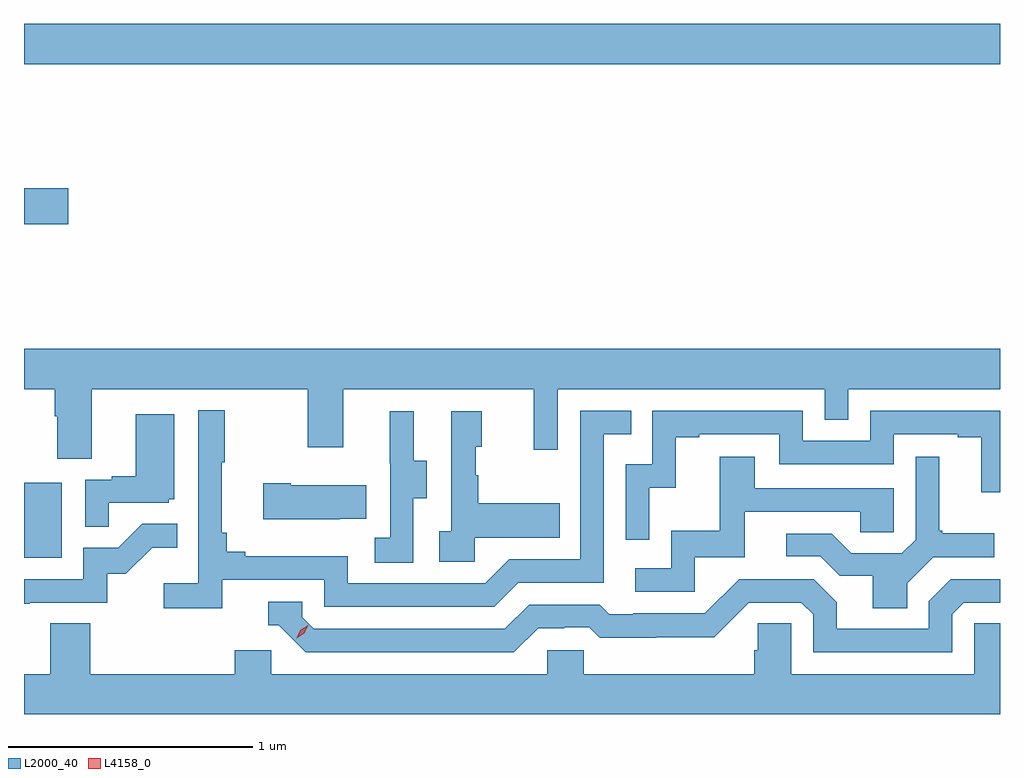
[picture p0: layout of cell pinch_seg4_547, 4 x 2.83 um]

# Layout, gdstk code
import gdstk
lib = gdstk.Library(unit=1e-6, precision=1e-09)
def R(c, l, rs):  # rectangles x0, y0, x1, y1
    for r in rs: c.add(gdstk.rectangle(r[:2], r[2:], *l))
def P(c, l, *ps):  # polygons
    for p in ps: c.add(gdstk.Polygon(p, *l))
L2000_40 = (2000, 40)
L4158_0 = (4158, 0)

pinch_seg4_547 = lib.new_cell('pinch_seg4_547')
R(pinch_seg4_547, L2000_40, [(1125.702,778.812,1125.856,779.119), (1125.702,780.179,1125.883,780.326), (1125.702,780.836,1129.702,781)])
P(pinch_seg4_547, L2000_40, [(1125.979,779.504),(1126.864,779.504),(1126.864,779.265),(1127.011,779.265),(1127.011,779.504),(1127.792,779.504),(1127.792,779.256),(1127.889,779.256),(1127.889,779.504),(1128.984,779.504),(1128.984,779.377),(1129.08,779.377),(1129.08,779.504),(1129.702,779.504),(1129.702,779.668),(1125.702,779.668),(1125.702,779.504),(1125.827,779.504),(1125.827,779.392),(1125.839,779.392),(1125.839,779.218),(1125.979,779.218)],
  [(1126.514,778.722),(1126.932,778.722),(1126.932,778.611),(1127.629,778.611),(1127.728,778.71),(1128.078,778.71),(1128.078,779.319),(1128.191,779.319),(1128.191,779.415),(1127.982,779.415),(1127.982,778.806),(1127.691,778.806),(1127.592,778.707),(1127.028,778.707),(1127.028,778.819),(1126.609,778.819),(1126.609,778.838),(1126.532,778.838),(1126.532,778.915),(1126.513,778.915),(1126.513,779.203),(1126.525,779.203),(1126.525,779.416),(1126.416,779.416),(1126.416,778.708),(1126.275,778.708),(1126.275,778.606),(1126.514,778.606)],
  [(1128.264,779.099),(1128.374,779.099),(1128.374,779.307),(1128.469,779.307),(1128.469,779.319),(1128.798,779.319),(1128.798,779.196),(1129.266,779.196),(1129.266,779.319),(1129.529,779.319),(1129.529,779.307),(1129.625,779.307),(1129.625,779.081),(1129.702,779.081),(1129.702,779.415),(1129.17,779.415),(1129.17,779.292),(1128.894,779.292),(1128.894,779.415),(1128.276,779.415),(1128.276,779.196),(1128.168,779.196),(1128.168,778.887),(1128.264,778.887)],
  [(1127.55,778.895),(1127.897,778.895),(1127.897,779.035),(1127.563,779.035),(1127.563,779.15),(1127.553,779.15),(1127.553,779.268),(1127.578,779.268),(1127.578,779.413),(1127.454,779.413),(1127.454,778.922),(1127.403,778.922),(1127.403,778.797),(1127.55,778.797)],
  [(1127.298,779.056),(1127.353,779.056),(1127.353,779.211),(1127.299,779.211),(1127.299,779.413),(1127.201,779.413),(1127.201,779.199),(1127.202,779.199),(1127.202,778.895),(1127.139,778.895),(1127.139,778.792),(1127.298,778.792)],
  [(1126.049,779.037),(1126.296,779.037),(1126.296,779.052),(1126.318,779.052),(1126.318,779.401),(1126.16,779.401),(1126.16,779.146),(1126.061,779.146),(1126.061,779.133),(1125.954,779.133),(1125.954,778.939),(1126.049,778.939)],
  [(1128.45,778.815),(1128.655,778.815),(1128.655,779.001),(1129.129,779.001),(1129.129,778.917),(1129.266,778.917),(1129.266,779.097),(1128.697,779.097),(1128.697,779.227),(1128.553,779.227),(1128.553,778.924),(1128.354,778.924),(1128.354,778.77),(1128.207,778.77),(1128.207,778.674),(1128.45,778.674)],
  [(1129.321,778.708),(1129.428,778.815),(1129.678,778.815),(1129.678,778.912),(1129.465,778.912),(1129.465,778.924),(1129.453,778.924),(1129.453,779.227),(1129.356,779.227),(1129.356,778.887),(1129.299,778.83),(1129.093,778.83),(1129.012,778.911),(1128.825,778.911),(1128.825,778.818),(1128.966,778.818),(1129.046,778.738),(1129.181,778.738),(1129.181,778.606),(1129.321,778.606)],
  [(1126.997,778.973),(1127.105,778.973),(1127.105,779.11),(1126.795,779.11),(1126.795,779.118),(1126.683,779.118),(1126.683,778.97),(1126.997,778.97)],
  [(1125.725,778.629),(1126.044,778.629),(1126.044,778.746),(1126.12,778.746),(1126.227,778.853),(1126.331,778.853),(1126.331,778.952),(1126.187,778.952),(1126.089,778.854),(1125.945,778.854),(1125.945,778.725),(1125.702,778.725),(1125.702,778.624),(1125.725,778.624)],
  [(1127.809,778.524),(1127.916,778.524),(1127.916,778.527),(1128.019,778.527),(1128.061,778.485),(1128.294,778.485),(1128.294,778.487),(1128.53,778.487),(1128.672,778.629),(1128.888,778.629),(1128.936,778.581),(1128.936,778.425),(1129.506,778.425),(1129.506,778.581),(1129.554,778.629),(1129.702,778.629),(1129.702,778.725),(1129.5,778.725),(1129.41,778.635),(1129.41,778.521),(1129.033,778.521),(1129.033,778.631),(1128.939,778.725),(1128.633,778.725),(1128.492,778.584),(1128.199,778.584),(1128.199,778.581),(1128.1,778.581),(1128.061,778.62),(1127.772,778.62),(1127.673,778.521),(1126.89,778.521),(1126.842,778.569),(1126.842,778.632),(1126.703,778.632),(1126.703,778.536),(1126.746,778.536),(1126.857,778.425),(1127.71,778.425)],
  [(1129.702,778.544),(1129.596,778.544),(1129.596,778.336),(1128.846,778.336),(1128.846,778.544),(1128.709,778.544),(1128.709,778.434),(1128.695,778.434),(1128.695,778.336),(1127.997,778.336),(1127.997,778.434),(1127.847,778.434),(1127.847,778.336),(1126.716,778.336),(1126.716,778.434),(1126.565,778.434),(1126.565,778.336),(1125.974,778.336),(1125.974,778.544),(1125.809,778.544),(1125.809,778.336),(1125.702,778.336),(1125.702,778.172),(1129.702,778.172)])
P(pinch_seg4_547, L4158_0, [(1126.82,778.482),(1126.82,778.483),(1126.835,778.515),(1126.866,778.535),(1126.866,778.535),(1126.866,778.535),(1126.85,778.502),(1126.82,778.482)])

lib.write_gds('pinch_seg4_547.gds')
